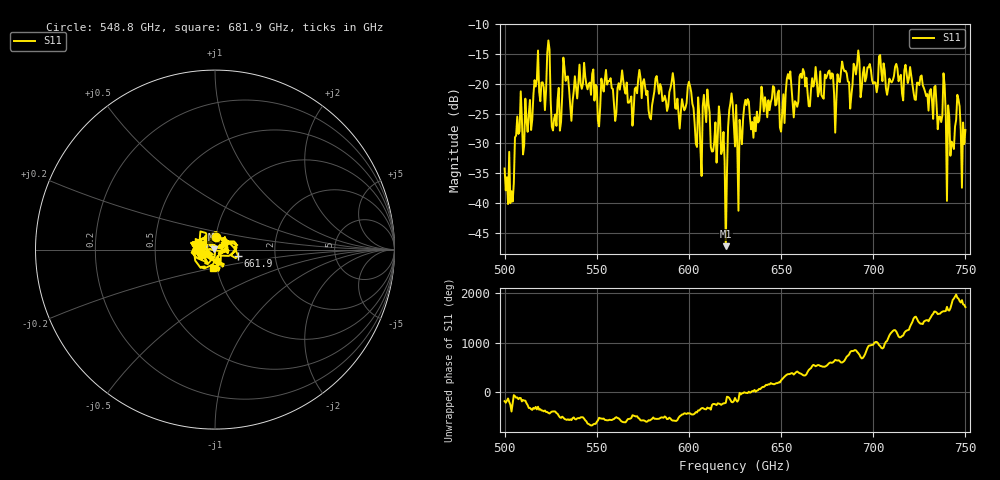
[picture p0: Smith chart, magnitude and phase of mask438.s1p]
!Created with skrf (http://scikit-rf.org).
# GHz S MA R 50.0
!freq magS11 angS11
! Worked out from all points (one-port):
!   401 points, 500 GHz to 750 GHz, reference 50 ohm
!   lowest |S11| = -47.3 dB at 620 GHz (marker M1), VSWR 1.01, Z = 49.6 + j0.224 ohm
!   |S11| at or under -10 dB: start of sweep to end of sweep
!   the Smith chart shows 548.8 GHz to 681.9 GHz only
!   S11 on the Smith chart (normalised r, x): 548.8 GHz: 1.00, +0.15; 661.9 GHz: 1.29, -0.09; 681.9 GHz: 0.96, -0.20
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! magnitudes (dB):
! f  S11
! 500 GHz  -34.2
! 504.4 GHz  -39.8
! 507.5 GHz  -28.4
! 513.8 GHz  -22.7
! 516.9 GHz  -20.5
! 523.8 GHz  -12.7
! 526.9 GHz  -25.8
! 531.2 GHz  -22.0
! 548.8 GHz  -22.8
! 562.5 GHz  -21.0
! 593.8 GHz  -22.5
! 600.6 GHz  -20.4
! 605.6 GHz  -25.3
! 609.4 GHz  -26.4
! 620 GHz  -47.3
! 622.5 GHz  -23.3
! 625 GHz  -30.5
! 627.5 GHz  -26.0
! 631.2 GHz  -23.6
! 656.2 GHz  -22.7
! 661.9 GHz  -17.5
! 681.9 GHz  -19.7
! 687.5 GHz  -24.2
! 718.8 GHz  -19.9
! 738.1 GHz  -18.2
! 741.2 GHz  -25.5
! 745.6 GHz  -21.8
! 750 GHz  -27.8
